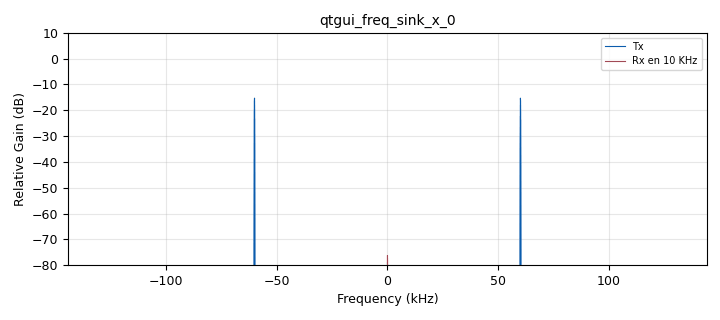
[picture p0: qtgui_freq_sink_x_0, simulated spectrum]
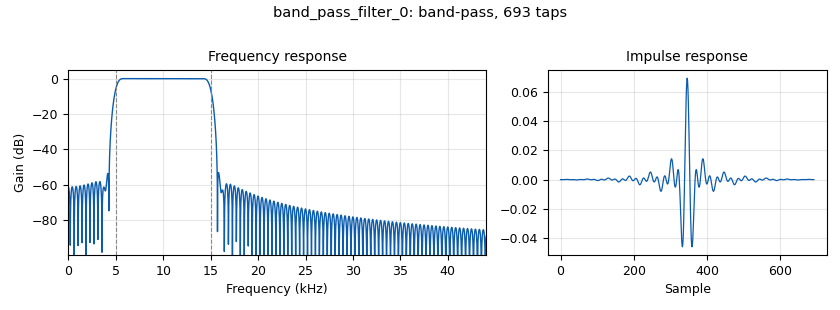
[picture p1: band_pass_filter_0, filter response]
options:
  parameters:
    author: mdoallo
    generate_options: qt_gui
    id: EC
    output_language: python
    title: Frecuencia imagen
  states: {}

blocks:
- name: Imag
  id: variable_qtgui_check_box
  parameters:
    comment: 3,5,1,1
    'false': '0'
    gui_hint: 3,5,1,1
    label: Imag ON
    'true': '1'
    type: real
    value: '0'
  states: {}
- name: frec_rx
  id: variable_qtgui_range
  parameters:
    comment: 2,5,1,1
    gui_hint: 2,5,1,1
    label: Frec Rx
    start: '50000'
    step: '1000'
    stop: samp_rate/2
    value: '60000'
    widget: counter
  states: {}
- name: frec_tx
  id: variable_qtgui_range
  parameters:
    comment: 0,5,1,1
    gui_hint: 0,5,1,1
    label: 'Frec Tx '
    start: '30000'
    step: '1000'
    stop: samp_rate/2
    value: '60000'
    widget: counter
  states: {}
- name: frec_tx_imag
  id: variable_qtgui_range
  parameters:
    comment: 1,5,1,1
    gui_hint: 1,5,1,1
    label: Frec Tx Imag
    start: '30000'
    step: '1000'
    stop: samp_rate/2
    value: '100000'
    widget: counter
  states: {}
- name: samp_rate
  id: variable
  parameters:
    value: '288000'
  states: {}
- name: analog_sig_source_x_0
  id: analog_sig_source_x
  parameters:
    amp: '1'
    comment: |-
      Una portadora que hace las veces de señal modulada recibida
      que varia entre 30 KHz y 72 KHz
    freq: frec_tx
    offset: '0'
    phase: '0'
    samp_rate: samp_rate
    type: float
    waveform: analog.GR_COS_WAVE
  states: {}
- name: analog_sig_source_x_0_0
  id: analog_sig_source_x
  parameters:
    amp: '1'
    comment: Oscilador local
    freq: frec_rx
    offset: '0'
    phase: '0'
    samp_rate: samp_rate
    type: float
    waveform: analog.GR_COS_WAVE
  states: {}
- name: analog_sig_source_x_0_1
  id: analog_sig_source_x
  parameters:
    amp: Imag
    comment: |-
      Una portadora que hace las veces de señal en una frecuencia particular
      denominada frecuencia imagen
    freq: frec_tx_imag
    offset: '0'
    phase: '0'
    samp_rate: samp_rate
    type: float
    waveform: analog.GR_COS_WAVE
  states: {}
- name: band_pass_filter_0
  id: band_pass_filter
  parameters:
    comment: |-
      Filtro de FI en 10 KHz y 
      10 KHz de ancho de banda
    decim: '1'
    gain: '1'
    high_cutoff_freq: '15000'
    low_cutoff_freq: '5000'
    samp_rate: samp_rate
    type: fir_filter_fff
    width: '1000'
    win: window.WIN_HAMMING
  states: {}
- name: blocks_add_xx_0
  id: blocks_add_xx
  parameters:
    comment: Antena
    type: float
  states: {}
- name: blocks_multiply_xx_0
  id: blocks_multiply_xx
  parameters:
    type: float
  states: {}
- name: blocks_throttle2_0
  id: blocks_throttle2
  parameters:
    samples_per_second: samp_rate
    type: float
  states: {}
- name: qtgui_freq_sink_x_0
  id: qtgui_freq_sink_x
  parameters:
    bw: samp_rate
    fc: '0'
    fftsize: '4096'
    gui_hint: qtgui_tab@0
    label1: Tx
    label2: Rx en 10 KHz
    nconnections: '2'
    type: float
    ymin: '-80'
  states: {}
- name: qtgui_tab
  id: qtgui_tab_widget
  parameters:
    comment: 0,0,2,5
    gui_hint: 0,0,5,5
    label0: Dominio espectral
    num_tabs: '1'
  states: {}

connections:
- [analog_sig_source_x_0, '0', blocks_add_xx_0, '0']
- [analog_sig_source_x_0, '0', blocks_throttle2_0, '0']
- [analog_sig_source_x_0_0, '0', blocks_multiply_xx_0, '1']
- [analog_sig_source_x_0_1, '0', blocks_add_xx_0, '1']
- [band_pass_filter_0, '0', qtgui_freq_sink_x_0, '1']
- [blocks_add_xx_0, '0', blocks_multiply_xx_0, '0']
- [blocks_add_xx_0, '0', qtgui_freq_sink_x_0, '0']
- [blocks_multiply_xx_0, '0', band_pass_filter_0, '0']

metadata:
  file_format: 1
  grc_version: 3.10.12.0
